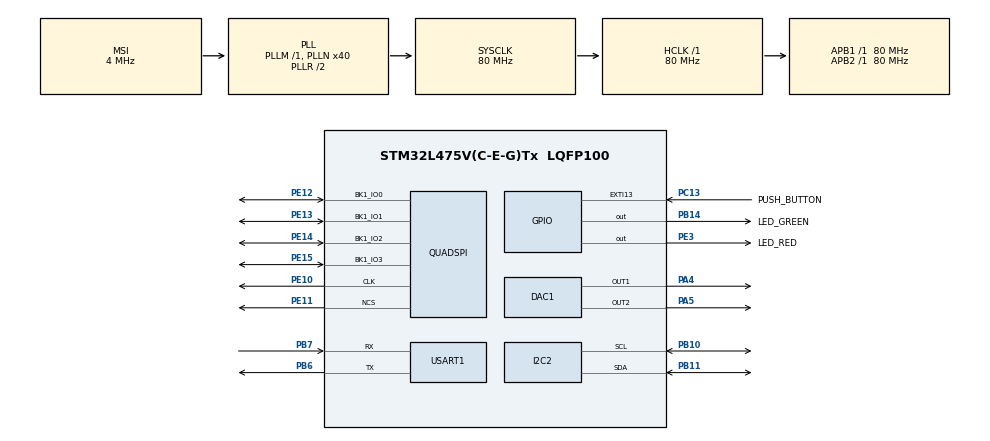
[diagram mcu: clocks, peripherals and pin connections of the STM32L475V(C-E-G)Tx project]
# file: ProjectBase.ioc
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DAC1.DAC_Channel-DAC_OUT2=DAC_CHANNEL_2
DAC1.DAC_Trigger-DAC_OUT1=DAC_TRIGGER_T2_TRGO
Dma.DAC_CH1.0.Direction=DMA_MEMORY_TO_PERIPH
Dma.DAC_CH1.0.Instance=DMA1_Channel3
Dma.DAC_CH1.0.MemDataAlignment=DMA_MDATAALIGN_BYTE
Dma.DAC_CH1.0.MemInc=DMA_MINC_ENABLE
Dma.DAC_CH1.0.Mode=DMA_NORMAL
Dma.DAC_CH1.0.PeriphDataAlignment=DMA_PDATAALIGN_BYTE
Dma.DAC_CH1.0.PeriphInc=DMA_PINC_DISABLE
Dma.DAC_CH1.0.Priority=DMA_PRIORITY_LOW
Dma.DAC_CH2.2.Direction=DMA_MEMORY_TO_PERIPH
Dma.DAC_CH2.2.Instance=DMA2_Channel5
Dma.DAC_CH2.2.MemDataAlignment=DMA_MDATAALIGN_WORD
Dma.DAC_CH2.2.MemInc=DMA_MINC_ENABLE
Dma.DAC_CH2.2.Mode=DMA_NORMAL
Dma.DAC_CH2.2.PeriphDataAlignment=DMA_PDATAALIGN_WORD
Dma.DAC_CH2.2.PeriphInc=DMA_PINC_DISABLE
Dma.DAC_CH2.2.Priority=DMA_PRIORITY_LOW
Dma.Request0=DAC_CH1
Dma.Request1=USART1_RX
Dma.Request2=DAC_CH2
Dma.USART1_RX.1.Direction=DMA_PERIPH_TO_MEMORY
Dma.USART1_RX.1.Instance=DMA1_Channel5
Dma.USART1_RX.1.MemDataAlignment=DMA_MDATAALIGN_BYTE
Dma.USART1_RX.1.MemInc=DMA_MINC_ENABLE
Dma.USART1_RX.1.Mode=DMA_NORMAL
Dma.USART1_RX.1.PeriphDataAlignment=DMA_PDATAALIGN_BYTE
Dma.USART1_RX.1.PeriphInc=DMA_PINC_DISABLE
Dma.USART1_RX.1.Priority=DMA_PRIORITY_LOW
FREERTOS.Tasks01=CheckPushButton,0,128,CheckStates,Default,NULL,Dynamic,NULL,NULL;PlayNotes,-3,128,PlayNote,Default,NULL,Dynamic,NULL,NULL;Transmission,-3,128,UartTransmission,Default,NULL,Dynamic,NULL,NULL;ReadData,-3,128,StartReadData,Default,NULL,Dynamic,NULL,NULL
I2C2.Timing=0x10909CEC
Mcu.Family=STM32L4
Mcu.Name=STM32L475V(C-E-G)Tx
Mcu.Package=LQFP100
NVIC.DMA1_Channel3_IRQn=true\:0\:0\:false\:false\:true\:true\:false\:true
NVIC.DMA1_Channel5_IRQn=true\:0\:0\:false\:false\:true\:true\:false\:true
NVIC.DMA2_Channel5_IRQn=true\:0\:0\:false\:false\:true\:true\:false\:true
NVIC.EXTI15_10_IRQn=true\:0\:0\:false\:false\:true\:false\:true\:true
NVIC.PriorityGroup=NVIC_PRIORITYGROUP_4
NVIC.TIM2_IRQn=true\:0\:0\:false\:false\:true\:false\:true\:true
NVIC.TIM6_DAC_IRQn=true\:0\:0\:false\:false\:true\:false\:false\:true
NVIC.TimeBase=TIM6_DAC_IRQn
NVIC.TimeBaseIP=TIM6
PA4.Signal=COMP_DAC11_group
PA5.Signal=COMP_DAC12_group
PB10.Mode=I2C
PB10.Signal=I2C2_SCL
PB11.Mode=I2C
PB11.Signal=I2C2_SDA
PB14.GPIO_Label=LED_GREEN
PB14.Signal=GPIO_Output
PB6.Mode=Asynchronous
PB6.Signal=USART1_TX
PB7.Mode=Asynchronous
PB7.Signal=USART1_RX
PC13.GPIO_Label=PUSH_BUTTON
PC13.Signal=GPXTI13
PE10.Mode=Single Bank
PE10.Signal=QUADSPI_CLK
PE11.Mode=Single Bank
PE11.Signal=QUADSPI_NCS
PE12.Mode=Single Bank
PE12.Signal=QUADSPI_BK1_IO0
PE13.Mode=Single Bank
PE13.Signal=QUADSPI_BK1_IO1
PE14.Mode=Single Bank
PE14.Signal=QUADSPI_BK1_IO2
PE15.Mode=Single Bank
PE15.Signal=QUADSPI_BK1_IO3
PE3.GPIO_Label=LED_RED
PE3.Signal=GPIO_Output
ProjectManager.HeapSize=0x200
ProjectManager.StackSize=0x400
ProjectManager.TargetToolchain=STM32CubeIDE
RCC.ADCFreq_Value=48000000
RCC.AHBFreq_Value=80000000
RCC.APB1Freq_Value=80000000
RCC.APB1TimFreq_Value=80000000
RCC.APB2Freq_Value=80000000
RCC.APB2TimFreq_Value=80000000
RCC.CortexFreq_Value=80000000
RCC.HCLKFreq_Value=80000000
RCC.HSE_VALUE=8000000
RCC.HSI_VALUE=16000000
RCC.LSE_VALUE=32768
RCC.MSI_VALUE=4000000
RCC.PLLN=40
RCC.PLLSAI1N=24
RCC.SYSCLKFreq_VALUE=80000000
RCC.SYSCLKSource=RCC_SYSCLKSOURCE_PLLCLK
RCC.USBFreq_Value=48000000
RCC.VCOOutputFreq_Value=160000000
SH.COMP_DAC11_group.0=DAC1_OUT1,DAC_OUT1
SH.COMP_DAC12_group.0=DAC1_OUT2,DAC_OUT2
TIM2.Period=1814
TIM2.TIM_MasterOutputTrigger=TIM_TRGO_UPDATE
TIM3.Period=20000
TIM3.TIM_MasterOutputTrigger=TIM_TRGO_UPDATE
USART1.VirtualMode-Asynchronous=VM_ASYNC
VP_FREERTOS_VS_CMSIS_V1.Mode=CMSIS_V1
VP_SYS_VS_tim6.Mode=TIM6
VP_TIM2_VS_ClockSourceINT.Mode=Internal
VP_TIM3_VS_ClockSourceINT.Mode=Internal
board=B-L475E-IOT01A1

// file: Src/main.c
/* USER CODE BEGIN Header */
/**
 ******************************************************************************
 * @file           : main.c
 * @brief          : Main program body
 ******************************************************************************
 * @attention
 *
 * <h2><center>&copy; Copyright (c) 2020 STMicroelectronics.
 * All rights reserved.</center></h2>
 *
 * This software component is licensed by ST under Ultimate Liberty license
 * SLA0044, the "License"; You may not use this file except in compliance with
 * the License. You may obtain a copy of the License at:
 *                             www.st.com/SLA0044
 *
 ******************************************************************************
 */
/* USER CODE END Header */
#include "main.h"
#include "cmsis_os.h"

/* USER CODE BEGIN Includes */
//void HAL_DFSDM_FilterRegConvHalfCpltCallback(DFSDM_Filter_HandleTypeDef * hdfsdm1_filter0);
//void HAL_DFSDM_FilterRegConvCpltCallback(DFSDM_Filter_HandleTypeDef * hdfsdm1_filter0);
//void HAL_DAC_ConvCpltCallbackCh1(DAC_HandleTypeDef *hdac1);
void HAL_UART_RxCpltCallback(UART_HandleTypeDef *huart);
volatile uint8_t RxReady = 0;
volatile uint8_t RxByte = 0;
#include "stm32l475e_iot01_qspi.h"
#include "arm_math.h"
#include "stm32l475e_iot01_tsensor.h"
#include "stm32l475e_iot01_psensor.h"
#include "stm32l475e_iot01_magneto.h"
#include "stm32l475e_iot01_gyro.h"
#include "stm32l475e_iot01_accelero.h"
#include "stdio.h"
#include "string.h"
#include "stdlib.h"
/* USER CODE END Includes */

DAC_HandleTypeDef hdac1;
DMA_HandleTypeDef hdma_dac_ch1;
DMA_HandleTypeDef hdma_dac_ch2;

I2C_HandleTypeDef hi2c2;

QSPI_HandleTypeDef hqspi;

TIM_HandleTypeDef htim2;
TIM_HandleTypeDef htim3;

UART_HandleTypeDef huart1;
DMA_HandleTypeDef hdma_usart1_rx;

osThreadId CheckPushButtonHandle;
osThreadId PlayNotesHandle;
osThreadId TransmissionHandle;
osThreadId ReadDataHandle;

void SystemClock_Config(void);
static void MX_GPIO_Init(void);
static void MX_DMA_Init(void);
static void MX_DAC1_Init(void);
static void MX_TIM2_Init(void);
static void MX_QUADSPI_Init(void);
static void MX_USART1_UART_Init(void);
static void MX_I2C2_Init(void);
static void MX_TIM3_Init(void);
void CheckStates(void const * argument);
void PlayNote(void const * argument);
void UartTransmission(void const * argument);
void StartReadData(void const * argument);

/* USER CODE BEGIN 0 */

SemaphoreHandle_t xMutexSending;
SemaphoreHandle_t xMutexReading;
SemaphoreHandle_t xMutexPlaying;
char CopyBuff[30*19+19];
char buffer[30*19+19] = {};
int audio[11] = {-1};
int audioCounter = 0;
//int counter = 0;
//float scale = 97;
//int samples = 22050;
//uint8_t sin1[22050];
//int16_t accXYZ[3];
/*
 * Flash melody
 */
int samples = 22050;
uint8_t sin1[22050];
int counter = 0;
int scale = 127;

/*
 * Accelrator
 */
int16_t accXYZ[3];
char printer[1] = {'p'};
char stopper[1] = {'s'};
char song[12] = {'p'};
int playAble = 0;
int sendAble = 0;
//void HAL_TIM_PeriodElapsedCallback(TIM_HandleTypeDef *htim2);
//
//void HAL_GPIO_EXTI_Callback (uint16_t GPIO_Pin);
//void HAL_DFSDM_FilterRegConvCpltCallback(DFSDM_Filter_HandleTypeDef * hdfsdm1_filter0);
/* USER CODE END 0 */

int main(void)
{

	/* MCU Configuration--------------------------------------------------------*/

	/* Reset of all peripherals, Initializes the Flash interface and the Systick. */
	HAL_Init();

	/* USER CODE BEGIN Init */
	BSP_ACCELERO_Init();
	/* USER CODE END Init */

	/* Configure the system clock */
	SystemClock_Config();

	/* Initialize all configured peripherals */
	MX_GPIO_Init();
	MX_DMA_Init();
	MX_DAC1_Init();
	MX_TIM2_Init();
	MX_QUADSPI_Init();
	MX_USART1_UART_Init();
	MX_I2C2_Init();
	MX_TIM3_Init();
	/* USER CODE BEGIN 2 */
	BSP_QSPI_Init();
	if(BSP_QSPI_Erase_Block(0) != QSPI_OK)
	{

		Error_Handler();
	}
	else
	{
		// Green Light light once

	}
	if(BSP_QSPI_Erase_Block(65536) != QSPI_OK)
	{

		Error_Handler();
	}
	else
	{
		// Green Light light once

	}
	if(BSP_QSPI_Erase_Block(131072) != QSPI_OK)
	{

		Error_Handler();
	}
	else
	{
		// Green Light light once

	}

	HAL_GPIO_WritePin(LED_GREEN_GPIO_Port, LED_GREEN_Pin, 0);
	HAL_GPIO_WritePin(LED_RED_GPIO_Port, LED_RED_Pin, 1);

	for (int i = 0; i < samples; i++) {
		float32_t rad = M_PI * (float32_t)i / 22.0;
		float32_t sine = arm_sin_f32(rad);
		//sine = (sine+1)*127 * 2.0 / 3.0;
		sine = (sine+1) * 2.0 / 3.0;
		sin1[i] = (uint8_t)sine;
	}
	BSP_QSPI_Write(sin1, (uint32_t)0, samples);

	for (int i = 0; i < samples; i++) {
		float32_t rad = M_PI * (float32_t)i / 20.0;
		float32_t sine = arm_sin_f32(rad);
		sine = (sine+1)* 2.0 / 3.0;
		sin1[i] = (uint8_t)sine;
	}
	BSP_QSPI_Write(sin1, (uint32_t)samples, samples);

	for (int i = 0; i < samples; i++) {
		float32_t rad = M_PI * (float32_t)i / 18.0;
		float32_t sine = arm_sin_f32(rad);
		sine = (sine+1)* 2.0 / 3.0;
		sin1[i] = (uint8_t)sine;
	}
	BSP_QSPI_Write(sin1, (uint32_t)(samples*2), samples);

	for (int i = 0; i < samples; i++) {
		float32_t rad = M_PI * (float32_t)i / 16.0;
		float32_t sine = arm_sin_f32(rad);
		sine = (sine+1)*2.0 / 3.0;
		sin1[i] = (uint8_t)sine;
	}
	BSP_QSPI_Write(sin1, samples*3, samples);

	for (int i = 0; i < samples; i++) {
		float32_t rad = M_PI * (float32_t)i / 14.0;
		float32_t sine = arm_sin_f32(rad);
		sine = (sine+1)* 2.0 / 3.0;
		sin1[i] = (uint8_t)sine;
	}
	BSP_QSPI_Write(sin1, (uint32_t)(samples*4), samples);

	for (int i = 0; i < samples; i++) {
		float32_t rad = M_PI * (float32_t)i / 12.0;
		float32_t sine = arm_sin_f32(rad);
		sine = (sine+1)* 2.0 / 3.0;
		sin1[i] = (uint8_t)sine;
	}
	BSP_QSPI_Write(sin1, (uint32_t)(samples*5), samples);
	/* USER CODE END 2 */

	/* USER CODE BEGIN RTOS_MUTEX */
	/* add mutexes, ... */
	xMutexSending = xSemaphoreCreateMutex();
	xMutexPlaying = xSemaphoreCreateMutex();
	xMutexReading = xSemaphoreCreateMutex();
	/* USER CODE END RTOS_MUTEX */

	/* Create the thread(s) */
	/* definition and creation of CheckPushButton */
	osThreadDef(CheckPushButton, CheckStates, osPriorityNormal, 0, 128);
	CheckPushButtonHandle = osThreadCreate(osThread(CheckPushButton), NULL);

	/* definition and creation of PlayNotes */
	osThreadDef(PlayNotes, PlayNote, osPriorityIdle, 0, 128);
	PlayNotesHandle = osThreadCreate(osThread(PlayNotes), NULL);

	/* definition and creation of Transmission */
	osThreadDef(Transmission, UartTransmission, osPriorityIdle, 0, 128);
	TransmissionHandle = osThreadCreate(osThread(Transmission), NULL);

	/* definition and creation of ReadData */
	osThreadDef(ReadData, StartReadData, osPriorityIdle, 0, 128);
	ReadDataHandle = osThreadCreate(osThread(ReadData), NULL);

	/* Start scheduler */
	osKernelStart();

	/* We should never get here as control is now taken by the scheduler */
	/* Infinite loop */
	while (1)
	{

	}
}

void SystemClock_Config(void)
{
	RCC_OscInitTypeDef RCC_OscInitStruct = {0};
	RCC_ClkInitTypeDef RCC_ClkInitStruct = {0};
	RCC_PeriphCLKInitTypeDef PeriphClkInit = {0};

	/** Initializes the RCC Oscillators according to the specified parameters
	 * in the RCC_OscInitTypeDef structure.
	 */
	RCC_OscInitStruct.OscillatorType = RCC_OSCILLATORTYPE_MSI;
	RCC_OscInitStruct.MSIState = RCC_MSI_ON;
	RCC_OscInitStruct.MSICalibrationValue = 0;
	RCC_OscInitStruct.MSIClockRange = RCC_MSIRANGE_6;
	RCC_OscInitStruct.PLL.PLLState = RCC_PLL_ON;
	RCC_OscInitStruct.PLL.PLLSource = RCC_PLLSOURCE_MSI;
	RCC_OscInitStruct.PLL.PLLM = 1;
	RCC_OscInitStruct.PLL.PLLN = 40;
	RCC_OscInitStruct.PLL.PLLP = RCC_PLLP_DIV7;
	RCC_OscInitStruct.PLL.PLLQ = RCC_PLLQ_DIV2;
	RCC_OscInitStruct.PLL.PLLR = RCC_PLLR_DIV2;
	if (HAL_RCC_OscConfig(&RCC_OscInitStruct) != HAL_OK)
	{
		Error_Handler();
	}
	/** Initializes the CPU, AHB and APB buses clocks
	 */
	RCC_ClkInitStruct.ClockType = RCC_CLOCKTYPE_HCLK|RCC_CLOCKTYPE_SYSCLK
			|RCC_CLOCKTYPE_PCLK1|RCC_CLOCKTYPE_PCLK2;
	RCC_ClkInitStruct.SYSCLKSource = RCC_SYSCLKSOURCE_PLLCLK;
	RCC_ClkInitStruct.AHBCLKDivider = RCC_SYSCLK_DIV1;
	RCC_ClkInitStruct.APB1CLKDivider = RCC_HCLK_DIV1;
	RCC_ClkInitStruct.APB2CLKDivider = RCC_HCLK_DIV1;

	if (HAL_RCC_ClockConfig(&RCC_ClkInitStruct, FLASH_LATENCY_4) != HAL_OK)
	{
		Error_Handler();
	}
	PeriphClkInit.PeriphClockSelection = RCC_PERIPHCLK_USART1|RCC_PERIPHCLK_I2C2;
	PeriphClkInit.Usart1ClockSelection = RCC_USART1CLKSOURCE_PCLK2;
	PeriphClkInit.I2c2ClockSelection = RCC_I2C2CLKSOURCE_PCLK1;
	if (HAL_RCCEx_PeriphCLKConfig(&PeriphClkInit) != HAL_OK)
	{
		Error_Handler();
	}
	/** Configure the main internal regulator output voltage
	 */
	if (HAL_PWREx_ControlVoltageScaling(PWR_REGULATOR_VOLTAGE_SCALE1) != HAL_OK)
	{
		Error_Handler();
	}
}

static void MX_DAC1_Init(void)
{

	DAC_ChannelConfTypeDef sConfig = {0};

	/** DAC Initialization
	 */
	hdac1.Instance = DAC1;
	if (HAL_DAC_Init(&hdac1) != HAL_OK)
	{
		Error_Handler();
	}
	/** DAC channel OUT1 config
	 */
	sConfig.DAC_SampleAndHold = DAC_SAMPLEANDHOLD_DISABLE;
	sConfig.DAC_Trigger = DAC_TRIGGER_T2_TRGO;
	sConfig.DAC_OutputBuffer = DAC_OUTPUTBUFFER_ENABLE;
	sConfig.DAC_ConnectOnChipPeripheral = DAC_CHIPCONNECT_DISABLE;
	sConfig.DAC_UserTrimming = DAC_TRIMMING_FACTORY;
	if (HAL_DAC_ConfigChannel(&hdac1, &sConfig, DAC_CHANNEL_1) != HAL_OK)
	{
		Error_Handler();
	}
	/** DAC channel OUT2 config
	 */
	sConfig.DAC_Trigger = DAC_TRIGGER_NONE;
	sConfig.DAC_ConnectOnChipPeripheral = DAC_CHIPCONNECT_DISABLE;
	if (HAL_DAC_ConfigChannel(&hdac1, &sConfig, DAC_CHANNEL_2) != HAL_OK)
	{
		Error_Handler();
	}

}

static void MX_I2C2_Init(void)
{

	hi2c2.Instance = I2C2;
	hi2c2.Init.Timing = 0x10909CEC;
	hi2c2.Init.OwnAddress1 = 0;
	hi2c2.Init.AddressingMode = I2C_ADDRESSINGMODE_7BIT;
	hi2c2.Init.DualAddressMode = I2C_DUALADDRESS_DISABLE;
	hi2c2.Init.OwnAddress2 = 0;
	hi2c2.Init.OwnAddress2Masks = I2C_OA2_NOMASK;
	hi2c2.Init.GeneralCallMode = I2C_GENERALCALL_DISABLE;
	hi2c2.Init.NoStretchMode = I2C_NOSTRETCH_DISABLE;
	if (HAL_I2C_Init(&hi2c2) != HAL_OK)
	{
		Error_Handler();
	}
	/** Configure Analogue filter
	 */
	if (HAL_I2CEx_ConfigAnalogFilter(&hi2c2, I2C_ANALOGFILTER_ENABLE) != HAL_OK)
	{
		Error_Handler();
	}
	/** Configure Digital filter
	 */
	if (HAL_I2CEx_ConfigDigitalFilter(&hi2c2, 0) != HAL_OK)
	{
		Error_Handler();
	}

}

static void MX_QUADSPI_Init(void)
{

	/* QUADSPI parameter configuration*/
	hqspi.Instance = QUADSPI;
	hqspi.Init.ClockPrescaler = 255;
	hqspi.Init.FifoThreshold = 1;
	hqspi.Init.SampleShifting = QSPI_SAMPLE_SHIFTING_NONE;
	hqspi.Init.FlashSize = 1;
	hqspi.Init.ChipSelectHighTime = QSPI_CS_HIGH_TIME_1_CYCLE;
	hqspi.Init.ClockMode = QSPI_CLOCK_MODE_0;
	if (HAL_QSPI_Init(&hqspi) != HAL_OK)
	{
		Error_Handler();
	}

}

static void MX_TIM2_Init(void)
{

	TIM_ClockConfigTypeDef sClockSourceConfig = {0};
	TIM_MasterConfigTypeDef sMasterConfig = {0};

	htim2.Instance = TIM2;
	htim2.Init.Prescaler = 0;
	htim2.Init.CounterMode = TIM_COUNTERMODE_UP;
	htim2.Init.Period = 1814;
	htim2.Init.ClockDivision = TIM_CLOCKDIVISION_DIV1;
	htim2.Init.AutoReloadPreload = TIM_AUTORELOAD_PRELOAD_DISABLE;
	if (HAL_TIM_Base_Init(&htim2) != HAL_OK)
	{
		Error_Handler();
	}
	sClockSourceConfig.ClockSource = TIM_CLOCKSOURCE_INTERNAL;
	if (HAL_TIM_ConfigClockSource(&htim2, &sClockSourceConfig) != HAL_OK)
	{
		Error_Handler();
	}
	sMasterConfig.MasterOutputTrigger = TIM_TRGO_UPDATE;
	sMasterConfig.MasterSlaveMode = TIM_MASTERSLAVEMODE_DISABLE;
	if (HAL_TIMEx_MasterConfigSynchronization(&htim2, &sMasterConfig) != HAL_OK)
	{
		Error_Handler();
	}

}

static void MX_TIM3_Init(void)
{

	TIM_ClockConfigTypeDef sClockSourceConfig = {0};
	TIM_MasterConfigTypeDef sMasterConfig = {0};

	htim3.Instance = TIM3;
	htim3.Init.Prescaler = 0;
	htim3.Init.CounterMode = TIM_COUNTERMODE_UP;
	htim3.Init.Period = 20000;
	htim3.Init.ClockDivision = TIM_CLOCKDIVISION_DIV1;
	htim3.Init.AutoReloadPreload = TIM_AUTORELOAD_PRELOAD_DISABLE;
	if (HAL_TIM_Base_Init(&htim3) != HAL_OK)
	{
		Error_Handler();
	}
	sClockSourceConfig.ClockSource = TIM_CLOCKSOURCE_INTERNAL;
	if (HAL_TIM_ConfigClockSource(&htim3, &sClockSourceConfig) != HAL_OK)
	{
		Error_Handler();
	}
	sMasterConfig.MasterOutputTrigger = TIM_TRGO_UPDATE;
	sMasterConfig.MasterSlaveMode = TIM_MASTERSLAVEMODE_DISABLE;
	if (HAL_TIMEx_MasterConfigSynchronization(&htim3, &sMasterConfig) != HAL_OK)
	{
		Error_Handler();
	}

}

static void MX_USART1_UART_Init(void)
{

	huart1.Instance = USART1;
	huart1.Init.BaudRate = 115200;
	huart1.Init.WordLength = UART_WORDLENGTH_8B;
	huart1.Init.StopBits = UART_STOPBITS_1;
	huart1.Init.Parity = UART_PARITY_NONE;
	huart1.Init.Mode = UART_MODE_TX_RX;
	huart1.Init.HwFlowCtl = UART_HWCONTROL_NONE;
	huart1.Init.OverSampling = UART_OVERSAMPLING_16;
	huart1.Init.OneBitSampling = UART_ONE_BIT_SAMPLE_DISABLE;
	huart1.AdvancedInit.AdvFeatureInit = UART_ADVFEATURE_NO_INIT;
	if (HAL_UART_Init(&huart1) != HAL_OK)
	{
		Error_Handler();
	}

}

static void MX_DMA_Init(void)
{

	/* DMA controller clock enable */
	__HAL_RCC_DMA1_CLK_ENABLE();
	__HAL_RCC_DMA2_CLK_ENABLE();

	/* DMA interrupt init */
	/* DMA1_Channel3_IRQn interrupt configuration */
	HAL_NVIC_SetPriority(DMA1_Channel3_IRQn, 0, 0);
	HAL_NVIC_EnableIRQ(DMA1_Channel3_IRQn);
	/* DMA1_Channel5_IRQn interrupt configuration */
	HAL_NVIC_SetPriority(DMA1_Channel5_IRQn, 0, 0);
	HAL_NVIC_EnableIRQ(DMA1_Channel5_IRQn);
	/* DMA2_Channel5_IRQn interrupt configuration */
	HAL_NVIC_SetPriority(DMA2_Channel5_IRQn, 0, 0);
	HAL_NVIC_EnableIRQ(DMA2_Channel5_IRQn);

}

static void MX_GPIO_Init(void)
{
	GPIO_InitTypeDef GPIO_InitStruct = {0};

	/* GPIO Ports Clock Enable */
	__HAL_RCC_GPIOE_CLK_ENABLE();
	__HAL_RCC_GPIOC_CLK_ENABLE();
	__HAL_RCC_GPIOA_CLK_ENABLE();
	__HAL_RCC_GPIOB_CLK_ENABLE();

	/*Configure GPIO pin Output Level */
	HAL_GPIO_WritePin(LED_RED_GPIO_Port, LED_RED_Pin, GPIO_PIN_RESET);

	/*Configure GPIO pin Output Level */
	HAL_GPIO_WritePin(LED_GREEN_GPIO_Port, LED_GREEN_Pin, GPIO_PIN_RESET);

	/*Configure GPIO pin : LED_RED_Pin */
	GPIO_InitStruct.Pin = LED_RED_Pin;
	GPIO_InitStruct.Mode = GPIO_MODE_OUTPUT_PP;
	GPIO_InitStruct.Pull = GPIO_NOPULL;
	GPIO_InitStruct.Speed = GPIO_SPEED_FREQ_LOW;
	HAL_GPIO_Init(LED_RED_GPIO_Port, &GPIO_InitStruct);

	/*Configure GPIO pin : PUSH_BUTTON_Pin */
	GPIO_InitStruct.Pin = PUSH_BUTTON_Pin;
	GPIO_InitStruct.Mode = GPIO_MODE_IT_RISING;
	GPIO_InitStruct.Pull = GPIO_NOPULL;
	HAL_GPIO_Init(PUSH_BUTTON_GPIO_Port, &GPIO_InitStruct);

	/*Configure GPIO pin : LED_GREEN_Pin */
	GPIO_InitStruct.Pin = LED_GREEN_Pin;
	GPIO_InitStruct.Mode = GPIO_MODE_OUTPUT_PP;
	GPIO_InitStruct.Pull = GPIO_NOPULL;
	GPIO_InitStruct.Speed = GPIO_SPEED_FREQ_LOW;
	HAL_GPIO_Init(LED_GREEN_GPIO_Port, &GPIO_InitStruct);

	/* EXTI interrupt init*/
	HAL_NVIC_SetPriority(EXTI15_10_IRQn, 0, 0);
	HAL_NVIC_EnableIRQ(EXTI15_10_IRQn);

}

/* USER CODE BEGIN 4 */

void play() {
	HAL_TIM_Base_Stop_IT(&htim2);
	HAL_DAC_Stop_DMA(&hdac1, DAC_CHANNEL_1);
	BSP_QSPI_Read(sin1, counter*samples, (uint32_t)samples);
	for (int i = 0; i < samples; i++) {
		sin1[i] = sin1[i] * scale;
	}
	HAL_TIM_Base_Start_IT(&htim2);
	HAL_DAC_Start_DMA(&hdac1, DAC_CHANNEL_1, sin1, (uint32_t)samples, DAC_ALIGN_8B_R);
	osDelay(500);
}

/* USER CODE END 4 */

void CheckStates(void const * argument)
{
	/* USER CODE BEGIN 5 */
	/* Infinite loop */
	for(;;)
	{
		osDelay(150);
	}
	/* USER CODE END 5 */
}

void PlayNote(void const * argument)
{
	/* USER CODE BEGIN PlayNote */
	/* Infinite loop */
	for(;;)
	{
		osDelay(100);
		xSemaphoreTake(xMutexPlaying, portMAX_DELAY);
		if(playAble)
		{
			play();
		}
		playAble=0;
		xSemaphoreGive(xMutexPlaying);
	}
	/* USER CODE END PlayNote */
}

void UartTransmission(void const * argument)
{
	/* USER CODE BEGIN UartTransmission */
	/* Infinite loop */
	memset(CopyBuff, 0, strlen(CopyBuff));
	sprintf(CopyBuff, "                              \n                              \n               @@@            \n             *@@,*@           \n             @/   &.          \n             @   @@           \n             & @@@.           \n           .@@@@#             \n         @@@@@/               \n       @@@@   @               \n//////@@@(//(@@@@@@#//////////\n      @%   @@&,& (@@@         \n,,,,,,@(,,*@,,,(,,,#@(,,,,,,,,\n       (%   %   (  #&         \n          %%.   %%%           \n                 ,            \n         .@@#    %            \n        .@@@@/   &            \n          &&, .@.             \n");
	memset(buffer, 0, strlen(buffer));
	strcat(buffer, CopyBuff);
	HAL_UART_Transmit(&huart1, (uint8_t*) buffer,
			(uint16_t) strlen(buffer), 30000);

	for(;;)
	{

		osDelay(100);
		xSemaphoreTake(xMutexSending, portMAX_DELAY);
		if(sendAble)
		{
			if (counter == 1) {
				memset(CopyBuff, 0, strlen(CopyBuff));
				sprintf(CopyBuff, "                              \n                              \n                              \n                              \n                              \n                              \n                              \n                              \n                              \n             &                \n/////////////&////////////////\n             &                \n,,,,,,,,,,,,,&,,,,,,,,,,,,,,,,\n             &                \n             &                \n             %                \n       .@@@@@@                \n      #@@@@@@.                \n         .                    \n");
				memset(buffer, 0, strlen(buffer));
				strcat(buffer, CopyBuff);
				HAL_UART_Transmit(&huart1, (uint8_t*) buffer,
						(uint16_t) strlen(buffer), 30000);
				if(audioCounter < 10)
				{
					song[audioCounter+1] = '1';
				}

			} else if (counter == 2) {
				memset(CopyBuff, 0, strlen(CopyBuff));
				sprintf(CopyBuff, "                              \n                              \n                              \n                              \n                              \n                              \n                              \n                              \n              ,               \n              *               \n//////////////#///////////////\n              *               \n,,,,,,,,,,,,,,/,,,,,,,,,,,,,,,\n              *               \n              *               \n        ,@@@@@@               \n       .@@@@@@                \n                              \n                              \n");
				memset(buffer, 0, strlen(buffer));
				strcat(buffer, CopyBuff);
				HAL_UART_Transmit(&huart1, (uint8_t*) buffer,
						(uint16_t) strlen(buffer), 30000);
				if(audioCounter < 10)
				{
					song[audioCounter+1] = '2';
				}
			} else if (counter == 3){
				memset(CopyBuff, 0, strlen(CopyBuff));
				sprintf(CopyBuff, "                              \n                              \n                              \n                              \n                              \n                              \n                              \n           *                  \n           /                  \n           /                  \n///////////#(/////////////////\n           /                  \n,,,,,,,,,,,(,,,,,,,,,,,,,,,,,,\n           /                  \n    .@@@@@@*                  \n    @@@@@@*                   \n                              \n                              \n                              \n");
				memset(buffer, 0, strlen(buffer));
				strcat(buffer, CopyBuff);
				HAL_UART_Transmit(&huart1, (uint8_t*) buffer,
						(uint16_t) strlen(buffer), 30000);
				if(audioCounter < 10)
				{
					song[audioCounter+1] = '3';
				}
			} else if (counter == 4)
			{
				memset(CopyBuff, 0, strlen(CopyBuff));
				sprintf(CopyBuff, "                              \n                              \n                              \n                              \n                              \n                              \n                %             \n                %             \n                %             \n                %             \n////////////////&/////////////\n                %             \n,,,,,,,,,,,,,,,,%,,,,,,,,,,,,,\n          @@@@@@%             \n         #@@@@@.              \n                              \n                              \n                              \n                              \n");
				memset(buffer, 0, strlen(buffer));
				strcat(buffer, CopyBuff);
				HAL_UART_Transmit(&huart1, (uint8_t*) buffer,
						(uint16_t) strlen(buffer), 30000);
				if(audioCounter < 10)
				{
					song[audioCounter+1] = '4';
				}
			}else if(counter == 5)
			{
				memset(CopyBuff, 0, strlen(CopyBuff));
				sprintf(CopyBuff, "                              \n                              \n                              \n                              \n                              \n                              \n                              \n                              \n                              \n             @@@@(            \n///////////@@@@@@@////////////\n          * #&(               \n,,,,,,,,,,(,,,,,,,,,,,,,,,,,,,\n          *                   \n          *                   \n          *                   \n          *                   \n          *                   \n          .                   \n");
				memset(buffer, 0, strlen(buffer));
				strcat(buffer, CopyBuff);
				HAL_UART_Transmit(&huart1, (uint8_t*) buffer,
						(uint16_t) strlen(buffer), 30000);
				if(audioCounter < 10)
				{
					song[audioCounter+1] = '5';
				}
			}else if(counter == 0)
			{
				memset(CopyBuff, 0, strlen(CopyBuff));
				sprintf(CopyBuff, "                              \n                              \n                              \n                              \n                              \n                              \n                              \n                              \n             @@@@@/           \n           %@@@@@@.           \n///////////&//////////////////\n           %                  \n,,,,,,,,,,,%,,,,,,,,,,,,,,,,,,\n           %                  \n           %                  \n           %                  \n           (                  \n                              \n                              \n");
				memset(buffer, 0, strlen(buffer));
				strcat(buffer, CopyBuff);
				HAL_UART_Transmit(&huart1, (uint8_t*) buffer,
						(uint16_t) strlen(buffer), 30000);
				if(audioCounter < 10)
				{
					song[audioCounter+1] = '0';
				}
			}
			audioCounter++;
			if(audioCounter > 10)
			{
				audioCounter == 100;
			}

		}
		sendAble = 0;
		xSemaphoreGive(xMutexSending);
	}
	/* USER CODE END UartTransmission */
}

void StartReadData(void const * argument)
{
	/* USER CODE BEGIN StartReadData */
	/* Infinite loop */
	for(;;)
	{

		osDelay(10);
		xSemaphoreTake(xMutexSending, portMAX_DELAY);
		xSemaphoreTake(xMutexPlaying, portMAX_DELAY);
		BSP_ACCELERO_AccGetXYZ(accXYZ);
		if ((int) accXYZ[0] > 400) {
			counter = 0;
			playAble = 1;
			sendAble = 1;
			osDelay(100);
		} else if ((int) accXYZ[0] < -400) {
			counter = 1;
			playAble = 1;
			sendAble = 1;
			osDelay(100);
		} else if ((int) accXYZ[1] > 400) {
			counter = 2;
			playAble = 1;
			sendAble = 1;
			osDelay(100);
		} else if ((int) accXYZ[1] < -400) {
			counter = 3;
			playAble = 1;
			sendAble = 1;
			osDelay(100);
		} else if ((int) accXYZ[2] > 1400) {
			counter = 4;
			playAble = 1;
			sendAble = 1;
			osDelay(100);
		} else if ((int) accXYZ[2] < 400) {
			counter = 5;
			playAble = 1;
			sendAble = 1;
			osDelay(100);
		}
		if(HAL_GPIO_ReadPin(PUSH_BUTTON_GPIO_Port, PUSH_BUTTON_Pin) == GPIO_PIN_RESET)
		{
			counter = 0;
			playAble = 0;
			sendAble = 0;
			HAL_UART_Transmit(&huart1, (uint8_t*) song,
					(uint16_t) 12, 30000);
			osDelay(1000);
			song[0] = 'p';
		}
		xSemaphoreGive(xMutexSending);
		xSemaphoreGive(xMutexPlaying);
	}
	/* USER CODE END StartReadData */
}

void HAL_TIM_PeriodElapsedCallback(TIM_HandleTypeDef *htim)
{
	if (htim->Instance == TIM6) {
		HAL_IncTick();
	}
}

void Error_Handler(void)
{
}

/************************ (C) COPYRIGHT STMicroelectronics *****END OF FILE****/
